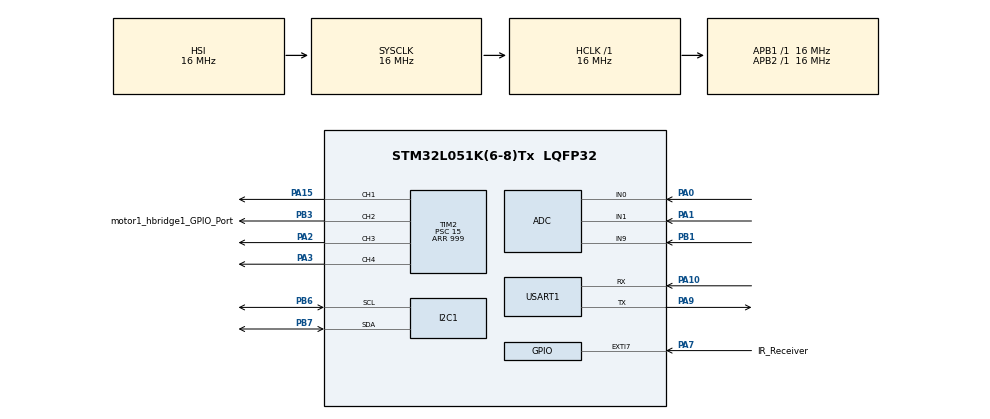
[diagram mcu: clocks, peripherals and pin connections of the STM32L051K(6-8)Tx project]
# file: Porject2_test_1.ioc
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I2C1.Timing=0x00503D58
Mcu.Family=STM32L0
Mcu.Name=STM32L051K(6-8)Tx
Mcu.Package=LQFP32
NVIC.EXTI4_15_IRQn=true\:1\:0\:true\:false\:true\:true\:true\:true
NVIC.TIM6_DAC_IRQn=true\:0\:0\:false\:false\:true\:true\:true\:true
PA0.Mode=IN0
PA0.Signal=ADC_IN0
PA1.Mode=IN1
PA1.Signal=ADC_IN1
PA10.Mode=Asynchronous
PA10.Signal=USART1_RX
PA13.Mode=Serial_Wire
PA13.Signal=SYS_SWDIO
PA14.Mode=Serial_Wire
PA14.Signal=SYS_SWCLK
PA15.Signal=S_TIM2_CH1
PA2.Signal=S_TIM2_CH3
PA3.Signal=S_TIM2_CH4
PA7.GPIO_Label=IR_Receiver
PA7.GPIO_ModeDefaultEXTI=GPIO_MODE_IT_RISING_FALLING
PA7.GPIO_PuPd=GPIO_PULLUP
PA7.Signal=GPXTI7
PA9.Mode=Asynchronous
PA9.Signal=USART1_TX
PB1.Mode=IN9
PB1.Signal=ADC_IN9
PB3.GPIO_Label=motor1_hbridge1_GPIO_Port
PB3.Signal=S_TIM2_CH2
PB6.Mode=I2C
PB6.Signal=I2C1_SCL
PB7.Mode=I2C
PB7.Signal=I2C1_SDA
ProjectManager.HeapSize=0x200
ProjectManager.StackSize=0x400
ProjectManager.TargetToolchain=CMake
RCC.AHBFreq_Value=16000000
RCC.APB1Freq_Value=16000000
RCC.APB1TimFreq_Value=16000000
RCC.APB2Freq_Value=16000000
RCC.APB2TimFreq_Value=16000000
RCC.HCLKFreq_Value=16000000
RCC.HSI16_VALUE=16000000
RCC.HSI_VALUE=16000000
RCC.LSE_VALUE=32768
RCC.MSI_VALUE=2097000
RCC.SYSCLKFreq_VALUE=16000000
RCC.SYSCLKSource=RCC_SYSCLKSOURCE_HSI
RCC.VCOOutputFreq_Value=48000000
SH.S_TIM2_CH1.0=TIM2_CH1,PWM Generation1 CH1
SH.S_TIM2_CH2.0=TIM2_CH2,PWM Generation2 CH2
SH.S_TIM2_CH3.0=TIM2_CH3,PWM Generation3 CH3
SH.S_TIM2_CH4.0=TIM2_CH4,PWM Generation4 CH4
TIM2.Channel-PWM\ Generation1\ CH1=TIM_CHANNEL_1
TIM2.Channel-PWM\ Generation2\ CH2=TIM_CHANNEL_2
TIM2.Channel-PWM\ Generation3\ CH3=TIM_CHANNEL_3
TIM2.Channel-PWM\ Generation4\ CH4=TIM_CHANNEL_4
TIM2.Period=999
TIM2.Prescaler=15
TIM6.Prescaler=15
USART1.VirtualMode-Asynchronous=VM_ASYNC
VP_TIM2_VS_ClockSourceINT.Mode=Internal
VP_TIM6_VS_ClockSourceINT.Mode=Enable_Timer
board=custom

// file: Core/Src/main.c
/* USER CODE BEGIN Header */
/**
  ******************************************************************************
  * @file           : main.c
  * @brief          : Main program body
  ******************************************************************************
  */
/* USER CODE END Header */

#include "main.h"
#include "adc.h"
#include "i2c.h"
#include "tim.h"
#include "usart.h"
#include "gpio.h"

/* USER CODE BEGIN Includes */
#include <string.h>
#include <math.h>
#include <stdlib.h>
#include "ir_rx.h"
#include "vl53l0x.h"
#include "config.h"
/* USER CODE END Includes */

/* USER CODE BEGIN PD */

// IMU Registers
#define LSM6DS33_ADDR_HIGH        0x6B
#define LSM6DS33_ADDR_LOW         0x6A

#define LSM6DS33_WHO_AM_I_REG     0x0F
#define LSM6DS33_CTRL1_XL         0x10
#define LSM6DS33_CTRL2_G          0x11
#define LSM6DS33_CTRL3_C          0x12

#define LSM6DS33_OUTX_L_G         0x22
#define LSM6DS33_OUTX_L_XL        0x28

#define LSM6DS33_WHO_AM_I_VAL     0x69

// IMU Values
#define GYRO_SENS_DPS_PER_LSB     0.00875f

#define GYRO_CAL_SAMPLES          200
#define RAD_TO_DEG                57.2957795f

// Vehicle Control
// needed to be tuned !!!
#define KP 0.015f // how much the car turns to fix itself
#define KS 0.015f // how much the car reduces speed when turning
#define KF 0.020f // decrease speed before approaching the intersection
//-------- base power of motor in auto mode -----------------
#define PB 75
#define STOP_VF 1500
#define LEFT_TURN_DEGREE -88
#define RIGHT_TURN_DEGREE 88
#define INTERSECTION_COMPENSATION_TIME 375
#define INTERSECTION_TURN_SETTLE_TIME 250

//For sensor
#define VL53L0X_I2C_ADDR 0x52

// ms it takes for the car to rotate one full circle at 60% power
#define IMU_UPDATE_PERIOD_MS      20u
#define POSE_STREAM_PERIOD_MS     100u
#define PATH_MAX_WAYPOINTS        32u
#define PATH_REACHED_TOLERANCE_CM 8.0f
#define DRIVE_SPEED_SCALE_CM_S    0.35f
#define PATH_FORWARD_SPEED        40
#define PATH_APPROACH_SPEED       25
#define PATH_STEER_GAIN           1.0f
#define PATH_MAX_STEER_CMD        55
#define MOTOR_TEST_SPEED          40
#define IR_JOYSTICK_CENTER_X      165u
#define IR_JOYSTICK_CENTER_Y      170u
#define GUIDEWIRE_FRONT_THRESHOLD_MV    1000u
#define GUIDEWIRE_BALANCE_TOLERANCE_MV   150u
#define GUIDEWIRE_LOCK_SAMPLES_REQUIRED    5u
#define GUIDEWIRE_SAMPLE_PERIOD_MS        20u

/* USER CODE END PD */

/* USER CODE BEGIN PV */

// IMU Variables
static uint8_t imu_addr = 0;
static uint8_t gyro_buf[6];
static uint8_t accel_buf[6];

static int16_t gyro_x = 0;
static int16_t gyro_y = 0;
static int16_t gyro_z = 0;

static int16_t accel_x = 0;
static int16_t accel_y = 0;
static int16_t accel_z = 0;

static float ax_g = 0.0f;
static float ay_g = 0.0f;
static float az_g = 0.0f;

static float gx_dps = 0.0f;
static float gy_dps = 0.0f;
static float gz_dps = 0.0f;

static float gx_bias = 0.0f;
static float gy_bias = 0.0f;
static float gz_bias = 0.0f;

static float roll_deg = 0.0f;
static float pitch_deg = 0.0f;
static float yaw_deg = 0.0f;
static float yaw_zero_deg = 0.0f;

static float pose_x_cm = 0.0f;
static float pose_y_cm = 0.0f;
static int current_left_motor_cmd = 0;
static int current_right_motor_cmd = 0;
static int current_drive_cmd = 0;
static uint32_t last_imu_update_ms = 0u;
static uint32_t last_pose_stream_ms = 0u;
static uint32_t last_motor_debug_ms = 0u;
static uint8_t origin_sent = 0u;
static uint32_t last_guidewire_sample_ms = 0u;
static uint8_t guidewire_origin_locked = 0u;
static uint8_t guidewire_lock_streak = 0u;

uint8_t rx_line_buf[96];
uint16_t rx_line_len = 0u;
uint8_t rx_pending_buf[96];
volatile uint16_t rx_pending_len = 0u;
volatile uint8_t rx_line_ready = 0u;
uint8_t uart_rx_byte = 0u;

float path_x[PATH_MAX_WAYPOINTS];
float path_y[PATH_MAX_WAYPOINTS];
uint8_t path_count = 0u;
uint8_t path_current_index = 0u;
uint8_t path_receiving = 0u;
uint8_t path_loaded = 0u;
uint8_t path_ready = 0u;
uint8_t motor_test_active = 0u;

// Vehicle Control
enum path_tracking_states my_tracking_states = Running;
volatile uint8_t ir_joystick_x = IR_JOYSTICK_CENTER_X;
volatile uint8_t ir_joystick_y = IR_JOYSTICK_CENTER_Y;
volatile uint8_t ir_mode       = 0u;     /* 0 = auto, 1 = remote */
volatile uint8_t ir_running    = 0u;     /* 1 after start, 0 after pause/reset */
volatile uint8_t ir_path       = 0u;

// Inductor readings
uint16_t adc0;
uint16_t v_left;
uint16_t adc1;
uint16_t v_right;
uint16_t adc9;
uint16_t v_front;
uint16_t v_front_last;

//float intersection_encountered_yaw_angle;
float intersection_turn_current_yaw_angle;
uint32_t intersection_encountered_time;
uint8_t intersection_number = 0;
enum intersection_directions path1[] = {Forward, Left, Left, Forward, Right, Left, Right, Stop};
//enum intersection_directions path1[] = {Left, Left, Left, Right, Right, Left, Right, Stop};
enum intersection_directions path2[] = {Left, Right, Left, Right, Forward, Forward, Stop};
enum intersection_directions path3[] = {Right, Forward, Right, Left, Right, Left, Forward, Stop};
uint8_t front_inductor_ready = 1;
uint32_t intersection_leave_time;
uint32_t last_intersection_turning_time;
uint32_t intersection_turn_settle_start_time;

//
/* USER CODE END PV */

void SystemClock_Config(void);
/* USER CODE BEGIN PFP */

// Vehicle Controls
void Set_Left_Motor(int speed);
void Set_Right_Motor(int speed);
void handle_intersection_encountered(void);
void handle_intersection_turning(void);
void path_tracking(void);
void handle_line_tracking(void);
void motor_remote_control(uint8_t, uint8_t);
void Set_Car_Speed(int speed);
void handle_intersection_stop(void);
void handle_intersection_compensation(void);
void handle_intersection_turn_settle(void);

// IMU
void uart_send_text(const char *s);
void uart_send_line(const char *s);
void uart_send_pose(void);
void uart_send_origin(void);
void UART_StartRxIT(void);
void UART_ProcessRx(void);
// void process_uart_command(char *line);
void process_pathfinder_control(float dt_s);
void sample_guidewire_sensors(void);
void update_guidewire_origin_reference(void);
void reset_pose_origin(void);
float wrap_angle_deg(float angle_deg);
int clamp_motor_speed(int speed);
int parse_int_simple(const char *s, int *out);

uint8_t probe_addr(uint8_t addr);
void i2c_scan(void);

uint8_t imu_write_reg(uint8_t reg, uint8_t val);
uint8_t imu_read_reg(uint8_t reg, uint8_t *val);
uint8_t imu_read_regs(uint8_t reg, uint8_t *buf, uint16_t len);

uint8_t MiniMU_FindIMU(void);
uint8_t MiniMU_Init(void);
uint8_t MiniMU_ReadGyro(void);
uint8_t MiniMU_ReadAccel(void);
void MiniMU_UpdateScaled(void);
void MiniMU_UpdateAngles(void);
void MiniMU_PrintScaledData(void);
void MiniMU_PrintAngles(void);
uint8_t MiniMU_CalibrateGyro(void);

/* USER CODE END PFP */

/* USER CODE BEGIN 0 */

void UART_StartRxIT(void)
{
    HAL_UART_Receive_IT(&huart1, &uart_rx_byte, 1u);
}

float wrap_angle_deg(float angle_deg)
{
    while (angle_deg > 180.0f)
    {
        angle_deg -= 360.0f;
    }

    while (angle_deg < -180.0f)
    {
        angle_deg += 360.0f;
    }

    return angle_deg;
}

int clamp_motor_speed(int speed)
{
    if (speed > 100)
    {
        return 100;
    }

    if (speed < -100)
    {
        return -100;
    }

    return speed;
}

int parse_int_simple(const char *s, int *out)
{
    int sign = 1;
    int value = 0;

    if ((s == NULL) || (out == NULL) || (*s == '\0'))
    {
        return 0;
    }

    if (*s == '-')
    {
        sign = -1;
        s++;
    }

    if (*s == '\0')
    {
        return 0;
    }

    while (*s != '\0')
    {
        if ((*s < '0') || (*s > '9'))
        {
            return 0;
        }

        value = (value * 10) + (*s - '0');
        s++;
    }

    *out = sign * value;
    return 1;
}

void reset_pose_origin(void)
{
    pose_x_cm = 0.0f;
    pose_y_cm = 0.0f;
    yaw_zero_deg = yaw_deg;
    current_drive_cmd = 0;
    origin_sent = 0u;
    guidewire_origin_locked = 0u;
    guidewire_lock_streak = 0u;
}
/* USER CODE END 0 */

int main(void)
{
  uint32_t now_ms;
  float dt_s;

  /* MCU Configuration--------------------------------------------------------*/

  /* Reset of all peripherals, Initializes the Flash interface and the Systick. */
  HAL_Init();
  SystemClock_Config();

  MX_GPIO_Init();
  MX_USART1_UART_Init();
  UART_StartRxIT();
  MX_TIM2_Init();
  MX_ADC_Init();
  MX_I2C1_Init();
  MX_TIM6_Init();
  /* USER CODE BEGIN 2 */
  // Starting PWM generation
  HAL_TIM_PWM_Start(&htim2, TIM_CHANNEL_1);
  HAL_TIM_PWM_Start(&htim2, TIM_CHANNEL_2);
  HAL_TIM_PWM_Start(&htim2, TIM_CHANNEL_3);
  HAL_TIM_PWM_Start(&htim2, TIM_CHANNEL_4);

  // Initializing IMU
  uart_send_line("");
  uart_send_line("Booting...");
  uart_send_line("USART1 ready");
  HAL_Delay(300);

  if (!MiniMU_Init())
  {
      while (1)
      {
          HAL_GPIO_TogglePin(GPIOB, GPIO_PIN_1);
          uart_send_line("MiniMU init failed");
          HAL_Delay(1000);
      }
  }

  if (!MiniMU_CalibrateGyro())
  {
      while (1)
      {
          HAL_GPIO_TogglePin(GPIOB, GPIO_PIN_1);
          uart_send_line("Gyro calibration failed");
          HAL_Delay(1000);
      }
  }

  uart_send_line("Streaming accel + gyro + angles");

  // Configure ADC channel
  HAL_ADCEx_Calibration_Start(&hadc, ADC_SINGLE_ENDED);
  vdda_calibration();

  MX_I2C1_Init();
  //MX_USART1_UART_Init();
  /* USER CODE BEGIN 2 */
  /* Configure TIM2 for a 263 µs periodic interrupt used by the IR FSM.
     T = 10 / 38000 Hz = 263.16 µs.
     HSI = 16 MHz → PSC = 15 → timer clock = 1 MHz → ARR = 262 → 263 µs. */
  htim6.Instance->ARR = 262u;
  htim6.Instance->EGR = 0x01U;
  IR_RX_Init();
  VL53L0X_Init();
  HAL_TIM_Base_Start_IT(&htim6);
  /* printf("IR RX Ready\r\n"); */
  reset_pose_origin();
  last_imu_update_ms = HAL_GetTick();
  last_pose_stream_ms = last_imu_update_ms;
  last_guidewire_sample_ms = last_imu_update_ms;
  uart_send_origin();

  /* USER CODE END 2 */

  /* Infinite loop */
  /* USER CODE BEGIN WHILE */
  while (1)
  {
  /* LQFP32 PINOUT
              ----------
        VDD -|1       32|- VSS
       PC14 -|2       31|- BOOT0
       PC15 -|3       30|- PB7 (SDA)
       NRST -|4       29|- PB6 (SCL)
       VDDA -|5       28|- PB5
  (LED) PA0 -|6       27|- PB4
        PA1 -|7       26|- PB3
        PA2 -|8       25|- PA15 (PWM output channel 1 of TIM2)
        PA3 -|9       24|- PA14
        PA4 -|10      23|- PA13
        PA5 -|11      22|- PA12
        PA6 -|12      21|- PA11
        PA7 -|13      20|- PA10 (Reserved for RXD)
        PB0 -|14      19|- PA9  (Reserved for TXD)
        PB1 -|15      18|- PA8
        VSS -|16      17|- VDD
              ----------
  */
    /* USER CODE END WHILE */

    /* USER CODE BEGIN 3 */
    now_ms = HAL_GetTick();
    //UART_ProcessRx();

    //path_tracking();

    /* ── IR FSM timeout watchdog ────────────────────────────────────────── */
    IR_RX_Update();

    /* ── Drain IR ring buffer ────────────────────────────────────────────── */
    {
      uint8_t cmd, dat;
      while (IR_RX_GetFrame(&cmd, &dat)) {
        /* printf("RAW cmd=0x%X data=%u\r\n", cmd, dat); */  /* DEBUG: remove later */
        HandleCommand(cmd, dat);
      }
    }
    /* ── VL53L0X Distance Read & Collision Override ─────────────────────── */
    static uint32_t last_dist_ms = 0;
    static uint16_t current_distance = 8190; // Default to max range

    //path_tracking(dt_s);

    if (HAL_GetTick() - last_dist_ms >= 100u) {
      last_dist_ms = HAL_GetTick();

      uint16_t reading = VL53L0X_ReadDistance();
      if (reading != 0xFFFFu) { // 0xFFFF means error or sensor not ready
          current_distance = reading;
      } else {
          current_distance = 8190; // Default to max range on error i think
      }
    }

    /* 3. COLLISION DETECTION OVERRIDE */
    if (current_distance < 100) {
      // EMERGENCY STOP: If bject is closer than 10cm
      Set_Left_Motor(0);
      Set_Right_Motor(0);
      /* printf("obstacle.\r\n"); */
    }
    else {
      // PATH CLEAR: Run normal driving modes based on IR command
      if (ir_mode == 0u) { // 0 = Auto Mode
        path_tracking();
      } else {             // 1 = Remote Mode
        motor_remote_control(ir_joystick_x, ir_joystick_y);
      }
    }

  /* USER CODE END 3 */

    //motor_remote_control(ir_joystick_x, ir_joystick_y);
    /*
    if (motor_test_active)
    {
      current_drive_cmd = 0;
      Set_Left_Motor(MOTOR_TEST_SPEED);
      Set_Right_Motor(MOTOR_TEST_SPEED);
    }
    else if (path_ready)
    {
      process_pathfinder_control((float)(now_ms - last_imu_update_ms) / 1000.0f);
    }
    else if (ir_running && (ir_mode == IR_MODE_REMOTE))
    {
      current_drive_cmd = 0;
      motor_remote_control(ir_joystick_x, ir_joystick_y);
    }
    else
    {
      current_drive_cmd = 0;
      Set_Left_Motor(0);
      Set_Right_Motor(0);
    }

    if ((now_ms - last_guidewire_sample_ms) >= GUIDEWIRE_SAMPLE_PERIOD_MS)
    {
      last_guidewire_sample_ms = now_ms;
      sample_guidewire_sensors();
      update_guidewire_origin_reference();
    }
    */
    /* ── Print joystick values every loop ───────────────────────────────── */
    //printf("X=%3u Y=%3u\r\n", ir_joystick_x, ir_joystick_y);

    if ((now_ms - last_imu_update_ms) >= IMU_UPDATE_PERIOD_MS)
    {
      dt_s = (float)(now_ms - last_imu_update_ms) / 1000.0f;
      last_imu_update_ms = now_ms;

      if (!MiniMU_ReadGyro()) {}
      else if (!MiniMU_ReadAccel()) {}
      else
      {
        MiniMU_UpdateScaled();
        MiniMU_UpdateAngles();

        yaw_deg = wrap_angle_deg(yaw_deg + gz_dps * dt_s);
        pose_x_cm += ((float)current_drive_cmd * DRIVE_SPEED_SCALE_CM_S * dt_s) * cosf((yaw_deg - yaw_zero_deg) / RAD_TO_DEG);
        pose_y_cm += ((float)current_drive_cmd * DRIVE_SPEED_SCALE_CM_S * dt_s) * sinf((yaw_deg - yaw_zero_deg) / RAD_TO_DEG);
      }
    }

    if ((now_ms - last_pose_stream_ms) >= POSE_STREAM_PERIOD_MS)
    {
      last_pose_stream_ms = now_ms;
      /* Serial debug mode: suppress periodic origin/pose telemetry. */
    }
  /* USER CODE END 3 */
  }
  /* USER CODE END WHILE */
}

void SystemClock_Config(void)
{
  RCC_OscInitTypeDef RCC_OscInitStruct = {0};
  RCC_ClkInitTypeDef RCC_ClkInitStruct = {0};
  RCC_PeriphCLKInitTypeDef PeriphClkInit = {0};

  __HAL_PWR_VOLTAGESCALING_CONFIG(PWR_REGULATOR_VOLTAGE_SCALE1);

  RCC_OscInitStruct.OscillatorType = RCC_OSCILLATORTYPE_HSI;
  RCC_OscInitStruct.HSIState = RCC_HSI_ON;
  RCC_OscInitStruct.HSICalibrationValue = RCC_HSICALIBRATION_DEFAULT;
  RCC_OscInitStruct.PLL.PLLState = RCC_PLL_NONE;
  if (HAL_RCC_OscConfig(&RCC_OscInitStruct) != HAL_OK)
  {
    Error_Handler();
  }

  RCC_ClkInitStruct.ClockType = RCC_CLOCKTYPE_HCLK | RCC_CLOCKTYPE_SYSCLK
                              | RCC_CLOCKTYPE_PCLK1 | RCC_CLOCKTYPE_PCLK2;
  RCC_ClkInitStruct.SYSCLKSource = RCC_SYSCLKSOURCE_HSI;
  RCC_ClkInitStruct.AHBCLKDivider = RCC_SYSCLK_DIV1;
  RCC_ClkInitStruct.APB1CLKDivider = RCC_HCLK_DIV1;
  RCC_ClkInitStruct.APB2CLKDivider = RCC_HCLK_DIV1;

  if (HAL_RCC_ClockConfig(&RCC_ClkInitStruct, FLASH_LATENCY_0) != HAL_OK)
  {
    Error_Handler();
  }

  PeriphClkInit.PeriphClockSelection = RCC_PERIPHCLK_USART1|RCC_PERIPHCLK_I2C1;
  PeriphClkInit.Usart1ClockSelection = RCC_USART1CLKSOURCE_PCLK2;
  PeriphClkInit.I2c1ClockSelection = RCC_I2C1CLKSOURCE_PCLK1;

  if (HAL_RCCEx_PeriphCLKConfig(&PeriphClkInit) != HAL_OK)
  {
    Error_Handler();
  }
}

/* USER CODE BEGIN 4 */
// LEFT MOTOR (TIM2) |  CH1 (PA15) = Forward Pin | CH2 (PB3) = Reverse Pin
void Set_Left_Motor(int speed){
  speed = clamp_motor_speed(speed);
  current_left_motor_cmd = speed;

  if(speed == 0) { // STOP
    __HAL_TIM_SET_COMPARE(&htim2, TIM_CHANNEL_1, 0);
    __HAL_TIM_SET_COMPARE(&htim2, TIM_CHANNEL_2, 0);
  }
  else if(speed > 0) { // FORWARD: CH1 gets PWM, CH2 stays 0
    __HAL_TIM_SET_COMPARE(&htim2, TIM_CHANNEL_1, speed * 10);
    __HAL_TIM_SET_COMPARE(&htim2, TIM_CHANNEL_2, 0);
  }
  else { // REVERSE: CH1 stays 0, CH2 gets PWM
    __HAL_TIM_SET_COMPARE(&htim2, TIM_CHANNEL_1, 0);
    __HAL_TIM_SET_COMPARE(&htim2, TIM_CHANNEL_2, (-speed) * 10);
  }
}

// RIGHT MOTOR (TIM2) | CH3 (PA2) = Forward Pin | CH4 (PA3) = Reverse Pin
void Set_Right_Motor(int speed){
  speed = clamp_motor_speed(speed);
  current_right_motor_cmd = speed;

  if(speed == 0) { // STOP
    __HAL_TIM_SET_COMPARE(&htim2, TIM_CHANNEL_3, 0);
    __HAL_TIM_SET_COMPARE(&htim2, TIM_CHANNEL_4, 0);
  }
  else if(speed > 0) { // FORWARD: CH3 gets PWM, CH4 stays 0
    __HAL_TIM_SET_COMPARE(&htim2, TIM_CHANNEL_3, speed * 10);
    __HAL_TIM_SET_COMPARE(&htim2, TIM_CHANNEL_4, 0);
  }
  else { // REVERSE: CH3 stays 0, CH4 gets PWM
    __HAL_TIM_SET_COMPARE(&htim2, TIM_CHANNEL_3, 0);
    __HAL_TIM_SET_COMPARE(&htim2, TIM_CHANNEL_4, (-speed) * 10);
  }
}

void path_tracking(void){
  sample_guidewire_sensors();

  switch(my_tracking_states){
    case Running:
      handle_line_tracking();
      break;

    case Intersection_encountered:
      handle_intersection_encountered();
      break;

    case Intersection_compensation:
      handle_intersection_compensation();
      break;

    case Intersection_turning:
      handle_intersection_turning();
      break;

    case Intersection_turn_settle:
      handle_intersection_turn_settle();
      break;

    case Intersection_stop:
      handle_intersection_stop();
      break;
  }
}

void sample_guidewire_sensors(void)
{
  adc0 = read_adc_channel(ADC_CHANNEL_0);
  adc1 = read_adc_channel(ADC_CHANNEL_1);
  adc9 = read_adc_channel(ADC_CHANNEL_9);

  // left, right, front and adc mapping depend on wiring
  v_left = adc_to_voltage(adc0);
  v_right = adc_to_voltage(adc9);
  v_front = adc_to_voltage(adc1);
}

void update_guidewire_origin_reference(void)
{
  uint32_t lateral_error_mv;

  if (guidewire_origin_locked)
  {
    return;
  }

  lateral_error_mv = (v_left > v_right) ? (v_left - v_right) : (v_right - v_left);

  if ((v_front >= GUIDEWIRE_FRONT_THRESHOLD_MV) &&
      (lateral_error_mv <= GUIDEWIRE_BALANCE_TOLERANCE_MV))
  {
    if (guidewire_lock_streak < GUIDEWIRE_LOCK_SAMPLES_REQUIRED)
    {
      guidewire_lock_streak++;
    }
  }
  else
  {
    guidewire_lock_streak = 0u;
  }

  if (guidewire_lock_streak >= GUIDEWIRE_LOCK_SAMPLES_REQUIRED)
  {
    reset_pose_origin();
    guidewire_origin_locked = 1u;
    uart_send_origin();
    uart_send_pose();
  }
}

void handle_line_tracking(void){
  int base_power;
  int error;
  int left_power;
  int right_power;
  uint32_t line_tracking_current_time = HAL_GetTick();
  if(line_tracking_current_time - intersection_leave_time > 3000){
    front_inductor_ready = 1;
  }

  error = (int)v_left - (int)v_right;
  base_power = PB - KS * abs(error);

  /*
  if(v_front > 700){
    base_power = base_power - KF * v_front;
    if (base_power < 45) {
      base_power = 45;
    }
  }
  */
  if(v_front > 700 && v_front > v_front_last){
    base_power = PB - 0.1 * (v_front - v_front_last);
  }

  left_power = base_power - KP * error;
  right_power = base_power + KP * error;

  if(front_inductor_ready == 1 && v_front > STOP_VF){
    my_tracking_states = Intersection_encountered;
  }
  else{
    my_tracking_states = Running;
  }

  //printf("left_power: %d; right_power: %d\n", left_power, right_power);
  Set_Left_Motor(left_power);
  Set_Right_Motor(right_power);

  v_front_last = v_front;
}

void handle_intersection_encountered(void){
  Set_Left_Motor(0);
  Set_Right_Motor(0);
  intersection_number += 1;
  //my_tracking_states = Intersection_turning;
  my_tracking_states = Intersection_compensation;
  intersection_encountered_time = HAL_GetTick();
  //last_intersection_turning_time = HAL_GetTick();
  //intersection_turn_current_yaw_angle = 0;
  //front_inductor_ready = 0;
}

void handle_intersection_compensation(void){
  if(HAL_GetTick() - intersection_encountered_time < INTERSECTION_COMPENSATION_TIME){
    Set_Left_Motor(50);
    Set_Right_Motor(50);
    my_tracking_states = Intersection_compensation;
  }
  else{
    Set_Left_Motor(0);
    Set_Right_Motor(0);
    my_tracking_states = Intersection_turning;
    last_intersection_turning_time = HAL_GetTick();
    intersection_turn_current_yaw_angle = 0;
    front_inductor_ready = 0;
  }
}

void handle_intersection_turning(void){
  //uint32_t intersection_turning_current_time = HAL_GetTick();
  float dt_s = (HAL_GetTick() - last_intersection_turning_time) / 1000.0f;
  last_intersection_turning_time = HAL_GetTick();
  intersection_turn_current_yaw_angle = intersection_turn_current_yaw_angle + gz_dps * dt_s;
  enum intersection_directions current_direction;
  switch(ir_path){
    case IR_PATH_1:
      current_direction = path1[intersection_number-1];
      break;

    case IR_PATH_2:
      current_direction = path2[intersection_number-1];
      break;

    case IR_PATH_3:
      current_direction = path3[intersection_number-1];
      break;

    default:
      current_direction = Stop;
      break;
  }

  switch(current_direction){
    case Forward:
      my_tracking_states = Running;
      intersection_leave_time = HAL_GetTick();
      break;

    case Left:
      if(intersection_turn_current_yaw_angle > LEFT_TURN_DEGREE){
        Set_Left_Motor(-65);
        Set_Right_Motor(65);
        my_tracking_states = Intersection_turning;
      }
      else{
        Set_Left_Motor(0);
        Set_Right_Motor(0);
        intersection_turn_settle_start_time = HAL_GetTick();
        my_tracking_states = Intersection_turn_settle;
      }
      break;

    case Right:
      if(intersection_turn_current_yaw_angle < RIGHT_TURN_DEGREE){
        Set_Left_Motor(65);
        Set_Right_Motor(-65);
        my_tracking_states = Intersection_turning;
      }
      else{
        Set_Left_Motor(0);
        Set_Right_Motor(0);
        intersection_turn_settle_start_time = HAL_GetTick();
        my_tracking_states = Intersection_turn_settle;
      }
      break;

    case Stop:
      my_tracking_states = Intersection_stop;
      intersection_leave_time = HAL_GetTick();
      break;
  }
}

void handle_intersection_turn_settle(void){
  Set_Left_Motor(0);
  Set_Right_Motor(0);

  if(HAL_GetTick() - intersection_turn_settle_start_time < INTERSECTION_TURN_SETTLE_TIME){
    my_tracking_states = Intersection_turn_settle;
  }
  else{
    my_tracking_states = Running;
    intersection_leave_time = HAL_GetTick();
  }
}

void handle_intersection_stop(void){
  Set_Left_Motor(0);
  Set_Right_Motor(0);
  my_tracking_states = Intersection_stop;
}

void motor_remote_control(uint8_t x, uint8_t y){
  int x_in;
  int y_in;
  int left_power;
  int right_power;

  if(x >= 165){
    x_in = (((int)x - 165) * 100) / 90;
  }
  else{
    x_in = (((int)x - 165) * 100) / 165;
  }

  if(y >= 170){
    y_in = (((int)y - 170) * 100) / 85;
  }
  else{
    y_in = (((int)y - 170) * 100) / 170;
  }

  /* Dead zone for joy stick */
  if(x_in < 20 && x_in > -20){
    x_in = 0;
  }
  if(y_in < 20 && y_in > -20){
    y_in = 0;
  }

  if(x_in == 0){
    left_power = y_in;
    right_power = -y_in;
  }
  else{
    left_power = x_in + y_in / 2;
    right_power = x_in - y_in / 2;
  }

  current_drive_cmd = 0;

  Set_Left_Motor(left_power);
  Set_Right_Motor(right_power);
}

/* ── IR command handler — called from ISR context (TIM6 tick) ───────────── */
/* Keep this function short: no blocking calls, no printf.                    */
void HandleCommand(uint8_t cmd_name, uint8_t data)
{
  switch (cmd_name)
  {
    case IR_CMD_START:
      motor_test_active = 0u;
      ir_running = 1u;
      break;

    case IR_CMD_PAUSE:
      motor_test_active = 0u;
      ir_running = 0u;
      path_ready = 0u;
      Set_Left_Motor(0);
      Set_Right_Motor(0);
      break;

    case IR_CMD_RESET:
      motor_test_active = 0u;
      ir_running    = 0u;
      path_ready    = 0u;
      ir_joystick_x = IR_JOYSTICK_CENTER_X;
      ir_joystick_y = IR_JOYSTICK_CENTER_Y;
      ir_mode       = IR_MODE_AUTO;
      ir_path       = IR_PATH_1;
      Set_Left_Motor(0);
      Set_Right_Motor(0);
      break;

    case IR_CMD_MODE:
      ir_mode = data;   /* IR_MODE_AUTO or IR_MODE_REMOTE */
      break;

    case IR_CMD_PATH:
      ir_path = data;   /* IR_PATH_1 / IR_PATH_2 / IR_PATH_3 */
      break;

    case IR_CMD_JOYSTICK_X:
      ir_joystick_x = data;
      break;

    case IR_CMD_JOYSTICK_Y:
      ir_joystick_y = data;
      break;

    default:
      break;
  }
}

void Set_Car_Speed(int speed){
  //speed should be between 0 and 100
  if(speed > 100)
    speed = 100;
  if(speed < -100)
    speed = -100;
  //STOP
  if(speed == 0) {
    __HAL_TIM_SET_COMPARE(&htim2, TIM_CHANNEL_1, 0);
    __HAL_TIM_SET_COMPARE(&htim2, TIM_CHANNEL_2, 0);
  }
  //FORWARD
  else if(speed > 0) {
    HAL_GPIO_WritePin(GPIOB, GPIO_PIN_0, GPIO_PIN_SET);
    HAL_GPIO_WritePin(GPIOA, GPIO_PIN_5, GPIO_PIN_RESET);

    // Multiply by 10 (e.g., 100% * 10 = 1000 ARR)
    __HAL_TIM_SET_COMPARE(&htim2, TIM_CHANNEL_1, speed * 10);
    __HAL_TIM_SET_COMPARE(&htim2, TIM_CHANNEL_2, speed * 10);
  }
  //BACKWARD
  else{
    HAL_GPIO_WritePin(GPIOB, GPIO_PIN_0, GPIO_PIN_RESET);
    HAL_GPIO_WritePin(GPIOA, GPIO_PIN_5, GPIO_PIN_SET);

    // Multiply by -10 (e.g., -100% * -10 = 1000 ARR)
    __HAL_TIM_SET_COMPARE(&htim2, TIM_CHANNEL_1, (-speed) * 10);
    __HAL_TIM_SET_COMPARE(&htim2, TIM_CHANNEL_2, (-speed) * 10);
  }
}

void uart_send_text(const char *s)
{
    HAL_UART_Transmit(&huart1, (uint8_t *)s, (uint16_t)strlen(s), HAL_MAX_DELAY);
}

void uart_send_line(const char *s)
{
    uart_send_text(s);
    uart_send_text("\r\n");
}

void uart_send_uint32(uint32_t value)
{
    char buf[10];
    int i = 0;

    if (value == 0u)
    {
        uart_send_text("0");
        return;
    }

    while ((value > 0u) && (i < (int)sizeof(buf)))
    {
        buf[i++] = (char)('0' + (value % 10u));
        value /= 10u;
    }

    while (i > 0)
    {
        i--;
        HAL_UART_Transmit(&huart1, (uint8_t *)&buf[i], 1u, HAL_MAX_DELAY);
    }
}

void uart_send_path_tracking_debug(void)
{
    static uint32_t last_path_debug_ms = 0u;
    uint32_t now_ms = HAL_GetTick();

    if ((now_ms - last_path_debug_ms) < 100u)
    {
        return;
    }

    last_path_debug_ms = now_ms;
    uart_send_text("v_front=");
    uart_send_uint32(v_front);
    uart_send_text(" v_left=");
    uart_send_uint32(v_left);
    uart_send_text(" v_right=");
    uart_send_uint32(v_right);
    uart_send_text("\r\n");
}

void uart_send_origin(void)
{
    uart_send_line("ORIGIN,0,0");
    origin_sent = 1u;
}

void uart_send_pose(void)
{
    /* Pose telemetry formatting disabled to reduce flash usage. */
}
/*
void process_uart_command(char *line)
{
    char *cmd;
    char *arg1;
    char *arg2;
    char *arg3;
    int index;
    int count;
    int x_scaled;
    int y_scaled;

    cmd = strtok(line, ",");
    if (cmd == NULL)
    {
        return;
    }

    if (strcmp(cmd, "STATUS") == 0)
    {
        if (!origin_sent)
        {
            uart_send_origin();
        }
        uart_send_pose();
        MiniMU_PrintScaledData();
        MiniMU_PrintAngles();
        return;
    }

    if (strcmp(cmd, "ZERO_YAW") == 0)
    {
        reset_pose_origin();
        uart_send_origin();
        uart_send_pose();
        return;
    }

    if (strcmp(cmd, "PATH_BEGIN") == 0)
    {
        arg1 = strtok(NULL, ",");
        count = 0;
        if ((arg1 != NULL) && !parse_int_simple(arg1, &count))
        {
            count = 0;
        }

        path_count = 0u;
        path_current_index = 0u;
        path_loaded = 0u;
        path_ready = 0u;
        path_receiving = 1u;
        motor_test_active = 0u;
        current_drive_cmd = 0;
        Set_Left_Motor(0);
        Set_Right_Motor(0);

        if (count > (int)PATH_MAX_WAYPOINTS)
        {
            count = (int)PATH_MAX_WAYPOINTS;
        }

        (void)count;
        uart_send_line("PATH_ACK,BEGIN");
        return;
    }

    if (strcmp(cmd, "WPT") == 0)
    {
        if (!path_receiving)
        {
            return;
        }

        arg1 = strtok(NULL, ",");
        arg2 = strtok(NULL, ",");
        arg3 = strtok(NULL, ",");

        if ((arg1 == NULL) || (arg2 == NULL) || (arg3 == NULL))
        {
            return;
        }

        if (!parse_int_simple(arg1, &index))
        {
            return;
        }

        if (!parse_int_simple(arg2, &x_scaled) || !parse_int_simple(arg3, &y_scaled))
        {
            return;
        }

        if ((index >= 0) && (index < (int)PATH_MAX_WAYPOINTS))
        {
            path_x[index] = (float)x_scaled / 100.0f;
            path_y[index] = (float)y_scaled / 100.0f;

            if ((uint8_t)(index + 1) > path_count)
            {
                path_count = (uint8_t)(index + 1);
            }
        }
        return;
    }

    if (strcmp(cmd, "PATH_END") == 0)
    {
        path_receiving = 0u;
        path_current_index = 0u;
        path_loaded = (path_count > 0u) ? 1u : 0u;
        path_ready = 0u;
        uart_send_line(path_loaded ? "PATH_ACK,LOADED" : "PATH_ACK,EMPTY");
        return;
    }

    if ((strcmp(cmd, "START") == 0) || (strcmp(cmd, "TRACK_ON") == 0))
    {
        if (path_receiving)
        {
            uart_send_line("TRACK_ACK,BUSY");
            return;
        }

        if (!path_loaded || (path_count == 0u))
        {
            uart_send_line("TRACK_ACK,NO_PATH");
            return;
        }

        path_current_index = 0u;
        path_ready = 1u;
        motor_test_active = 0u;
        uart_send_line("TRACK_ACK,ON");
        return;
    }

    if (strcmp(cmd, "MOTOR_TEST") == 0)
    {
        path_ready = 0u;
        path_receiving = 0u;
        motor_test_active = 1u;
        current_drive_cmd = 0;
        Set_Left_Motor(MOTOR_TEST_SPEED);
        Set_Right_Motor(MOTOR_TEST_SPEED);
        uart_send_line("MOTOR_ACK,ON");
        return;
    }

    if (strcmp(cmd, "TRACK_OFF") == 0)
    {
        uint8_t was_motor_test = motor_test_active;

        motor_test_active = 0u;
        ir_running = 0u;
        path_ready = 0u;
        current_drive_cmd = 0;
        Set_Left_Motor(0);
        Set_Right_Motor(0);
        uart_send_line(was_motor_test ? "MOTOR_ACK,OFF" : "TRACK_ACK,OFF");
        return;
    }
}
*/
/*
void UART_ProcessRx(void)
{
    uint16_t pending_len;

    if (!rx_line_ready)
    {
        return;
    }

    __disable_irq();
    pending_len = rx_pending_len;
    rx_line_ready = 0u;
    __enable_irq();

    if (pending_len == 0u)
    {
        return;
    }

    rx_pending_buf[pending_len] = 0u;
    process_uart_command((char *)rx_pending_buf);
}
*/
void HAL_UART_RxCpltCallback(UART_HandleTypeDef *huart)
{
    uint16_t i;

    if (huart->Instance != USART1)
    {
        return;
    }

    if ((uart_rx_byte == '\r') || (uart_rx_byte == '\n'))
    {
        if ((rx_line_len > 0u) && !rx_line_ready)
        {
            for (i = 0u; i < rx_line_len; i++)
            {
                rx_pending_buf[i] = rx_line_buf[i];
            }
            rx_pending_len = rx_line_len;
            rx_line_len = 0u;
            rx_line_ready = 1u;
        }
        else
        {
            rx_line_len = 0u;
        }
    }
    else if (rx_line_len < (sizeof(rx_line_buf) - 1u))
    {
        rx_line_buf[rx_line_len++] = uart_rx_byte;
    }
    else
    {
        rx_line_len = 0u;
    }

    HAL_UART_Receive_IT(&huart1, &uart_rx_byte, 1u);
}

void HAL_UART_ErrorCallback(UART_HandleTypeDef *huart)
{
    if (huart->Instance != USART1)
    {
        return;
    }

    rx_line_len = 0u;
    HAL_UART_Receive_IT(&huart1, &uart_rx_byte, 1u);
}

void process_pathfinder_control(float dt_s)
{
    float target_x;
    float target_y;
    float dx;
    float dy;
    float distance_cm;
    float current_heading_deg;
    float target_heading_deg;
    float heading_error_deg;
    float forward_scale;
    int drive_cmd;
    int steer_cmd;
    int left_cmd;
    int right_cmd;

    if (!path_ready || (path_count == 0u))
    {
        return;
    }

    if (path_current_index >= path_count)
    {
        path_ready = 0u;
        current_drive_cmd = 0;
        Set_Left_Motor(0);
        Set_Right_Motor(0);
        return;
    }

    target_x = path_x[path_current_index];
    target_y = path_y[path_current_index];
    dx = target_x - pose_x_cm;
    dy = target_y - pose_y_cm;
    distance_cm = sqrtf((dx * dx) + (dy * dy));
    current_heading_deg = wrap_angle_deg(yaw_deg - yaw_zero_deg);
    target_heading_deg = atan2f(dy, dx) * RAD_TO_DEG;
    heading_error_deg = wrap_angle_deg(target_heading_deg - current_heading_deg);

    if (distance_cm <= PATH_REACHED_TOLERANCE_CM)
    {
        path_current_index++;
        if (path_current_index >= path_count)
        {
            path_ready = 0u;
            current_drive_cmd = 0;
            Set_Left_Motor(0);
            Set_Right_Motor(0);
        }
        return;
    }

    drive_cmd = PATH_FORWARD_SPEED;
    if (distance_cm < 20.0f)
    {
        drive_cmd = PATH_APPROACH_SPEED;
    }

    if (fabsf(heading_error_deg) > 60.0f)
    {
        drive_cmd = PATH_APPROACH_SPEED;
    }

    steer_cmd = (int)(heading_error_deg * PATH_STEER_GAIN);

    if (steer_cmd > PATH_MAX_STEER_CMD)
    {
        steer_cmd = PATH_MAX_STEER_CMD;
    }
    else if (steer_cmd < -PATH_MAX_STEER_CMD)
    {
        steer_cmd = -PATH_MAX_STEER_CMD;
    }

    forward_scale = cosf(fabsf(heading_error_deg) / RAD_TO_DEG);
    if (forward_scale < 0.0f)
    {
        forward_scale = 0.0f;
    }

    current_drive_cmd = (int)(drive_cmd * forward_scale);
    left_cmd = clamp_motor_speed(drive_cmd + steer_cmd);
    right_cmd = clamp_motor_speed(drive_cmd - steer_cmd);

    Set_Left_Motor(left_cmd);
    Set_Right_Motor(right_cmd);

    (void)dt_s;
}

uint8_t probe_addr(uint8_t addr)
{
    return (HAL_I2C_IsDeviceReady(&hi2c1, (uint16_t)(addr << 1), 3, 100) == HAL_OK) ? 1u : 0u;
}

void i2c_scan(void)
{
    uint8_t addr;

    for (addr = 0x08; addr < 0x78; addr++)
    {
        if (probe_addr(addr))
        {
            uart_send_line("I2C device found");
        }
    }
}

uint8_t imu_write_reg(uint8_t reg, uint8_t val)
{
    return (HAL_I2C_Mem_Write(&hi2c1, (uint16_t)(imu_addr << 1), reg, I2C_MEMADD_SIZE_8BIT, &val, 1, 100) == HAL_OK) ? 1u : 0u;
}

uint8_t imu_read_reg(uint8_t reg, uint8_t *val)
{
    return (HAL_I2C_Mem_Read(&hi2c1, (uint16_t)(imu_addr << 1), reg, I2C_MEMADD_SIZE_8BIT, val, 1, 100) == HAL_OK) ? 1u : 0u;
}

uint8_t imu_read_regs(uint8_t reg, uint8_t *buf, uint16_t len)
{
    return (HAL_I2C_Mem_Read(&hi2c1, (uint16_t)(imu_addr << 1), reg, I2C_MEMADD_SIZE_8BIT, buf, len, 100) == HAL_OK) ? 1u : 0u;
}

uint8_t MiniMU_FindIMU(void)
{
    if (probe_addr(LSM6DS33_ADDR_HIGH))
    {
        imu_addr = LSM6DS33_ADDR_HIGH;
        return 1;
    }

    if (probe_addr(LSM6DS33_ADDR_LOW))
    {
        imu_addr = LSM6DS33_ADDR_LOW;
        return 1;
    }

    imu_addr = 0;
    return 0;
}

uint8_t MiniMU_Init(void)
{
    uint8_t who = 0;
    uint8_t ctrl1 = 0;
    uint8_t ctrl2 = 0;
    uint8_t ctrl3 = 0;
    char msg[96];

    i2c_scan();

    if (!MiniMU_FindIMU())
    {
        return 0;
    }

    imu_write_reg(LSM6DS33_CTRL1_XL, 0x40);
    imu_write_reg(LSM6DS33_CTRL2_G, 0x40);
    imu_write_reg(LSM6DS33_CTRL3_C, 0x44);

    return 1;
}

uint8_t MiniMU_ReadGyro(void)
{
    imu_read_regs(LSM6DS33_OUTX_L_G, gyro_buf, 6);

    gyro_x = (int16_t)((((uint16_t)gyro_buf[1]) << 8) | gyro_buf[0]);
    gyro_y = (int16_t)((((uint16_t)gyro_buf[3]) << 8) | gyro_buf[2]);
    gyro_z = (int16_t)((((uint16_t)gyro_buf[5]) << 8) | gyro_buf[4]);

    return 1;
}

uint8_t MiniMU_ReadAccel(void)
{
    if (!imu_read_regs(LSM6DS33_OUTX_L_XL, accel_buf, 6))
    {
        return 0;
    }

    accel_x = (int16_t)((((uint16_t)accel_buf[1]) << 8) | accel_buf[0]);
    accel_y = (int16_t)((((uint16_t)accel_buf[3]) << 8) | accel_buf[2]);
    accel_z = (int16_t)((((uint16_t)accel_buf[5]) << 8) | accel_buf[4]);

    return 1;
}

void MiniMU_UpdateScaled(void)
{
    ax_g = ((float)accel_x) *  0.000061f;
    ay_g = ((float)accel_y) *  0.000061f;
    az_g = ((float)accel_z) *  0.000061f;

    gx_dps = ((float)gyro_x) * GYRO_SENS_DPS_PER_LSB - gx_bias;
    gy_dps = ((float)gyro_y) * GYRO_SENS_DPS_PER_LSB - gy_bias;
    gz_dps = ((float)gyro_z) * GYRO_SENS_DPS_PER_LSB - gz_bias;
}

void MiniMU_UpdateAngles(void)
{
    float denom_pitch;

    denom_pitch = sqrtf((ax_g * ax_g) + (az_g * az_g));

    if (denom_pitch < 0.0001f)
    {
        denom_pitch = 0.0001f;
    }

    roll_deg = atan2f(ay_g, az_g) * RAD_TO_DEG;
    pitch_deg = atan2f(-ax_g, denom_pitch) * RAD_TO_DEG;
}

void MiniMU_PrintScaledData(void)
{
    /* Detailed IMU telemetry formatting disabled to reduce flash usage. */
}

void MiniMU_PrintAngles(void)
{
    /* Detailed angle telemetry formatting disabled to reduce flash usage. */
}

uint8_t MiniMU_CalibrateGyro(void)
{
    uint32_t i;
    int32_t sum_x = 0;
    int32_t sum_y = 0;
    int32_t sum_z = 0;

    for (i = 0; i < GYRO_CAL_SAMPLES; i++)
    {
        if (!MiniMU_ReadGyro())
        {
            return 0;
        }

        sum_x += gyro_x;
        sum_y += gyro_y;
        sum_z += gyro_z;

        HAL_Delay(10);
    }

    gx_bias = ((float)sum_x / (float)GYRO_CAL_SAMPLES) * GYRO_SENS_DPS_PER_LSB;
    gy_bias = ((float)sum_y / (float)GYRO_CAL_SAMPLES) * GYRO_SENS_DPS_PER_LSB;
    gz_bias = ((float)sum_z / (float)GYRO_CAL_SAMPLES) * GYRO_SENS_DPS_PER_LSB;

    return 1;
}
/* USER CODE END 4 */

void Error_Handler(void)
{
  __disable_irq();
  while (1)
  {
    HAL_GPIO_TogglePin(GPIOB, GPIO_PIN_1);
    HAL_Delay(150);
  }
}
